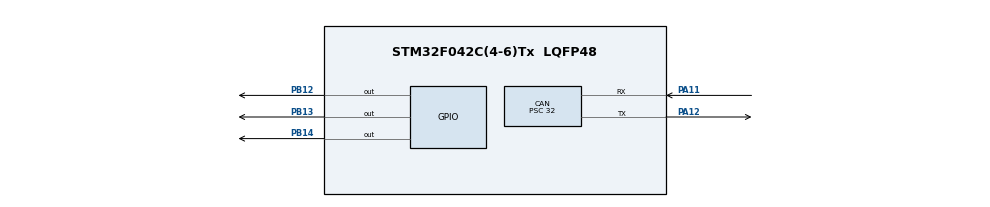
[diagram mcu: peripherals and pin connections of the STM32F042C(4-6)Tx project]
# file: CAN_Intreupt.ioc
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CAN.AWUM=ENABLE
CAN.BS1=CAN_BS1_2TQ
CAN.CalculateTimeQuantum=4000.0
CAN.NART=ENABLE
CAN.Prescaler=32
Mcu.Family=STM32F0
Mcu.Name=STM32F042C(4-6)Tx
Mcu.Package=LQFP48
NVIC.CEC_CAN_IRQn=true\:0\:0\:false\:true\:true\:1\:true\:true
PA11.Mode=Master
PA11.Signal=CAN_RX
PA12.Mode=Master
PA12.Signal=CAN_TX
PB12.Signal=GPIO_Output
PB13.Signal=GPIO_Output
PB14.Signal=GPIO_Output
ProjectManager.HeapSize=0x200
ProjectManager.StackSize=0x400
ProjectManager.TargetToolchain=STM32CubeIDE
board=custom

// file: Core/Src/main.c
/* USER CODE BEGIN Header */
/**
  **************************
  * @file           : main.c
  * @brief          : Main program body
  **************************
  * @attention
  *
  * <h2><center>&copy; Copyright (c) 2021 STMicroelectronics.
  * All rights reserved.</center></h2>
  *
  * This software component is licensed by ST under BSD 3-Clause license,
  * the "License"; You may not use this file except in compliance with the
  * License. You may obtain a copy of the License at:
  *                        opensource.org/licenses/BSD-3-Clause
  *
  **************************
  */
/* USER CODE END Header */
#include "main.h"

/* USER CODE BEGIN Includes */
#include <stdio.h>
/* USER CODE END Includes */

CAN_HandleTypeDef hcan;

/* USER CODE BEGIN PV */
uint8_t DATA[8]={0};
uint32_t id=0;
/* USER CODE END PV */

void SystemClock_Config(void);
static void MX_GPIO_Init(void);
static void MX_CAN_Init(void);
static void MX_NVIC_Init(void);
/* USER CODE BEGIN PFP */
void CANStart();
void CANTransmit(uint32_t,uint32_t,uint32_t,uint32_t,uint8_t*);
void CANReceive(void);
/* USER CODE END PFP */

int main(void)
{

  /* MCU Configuration--------------------------------------------------------*/

  /* Reset of all peripherals, Initializes the Flash interface and the Systick. */
  HAL_Init();

  /* Configure the system clock */
  SystemClock_Config();

  /* Initialize all configured peripherals */
  MX_GPIO_Init();
  MX_CAN_Init();

  /* Initialize interrupts */
  MX_NVIC_Init();
  /* USER CODE BEGIN 2 */
  CANStart();
  /* USER CODE END 2 */

  /* Infinite loop */
  while (1)
  {

    /* USER CODE BEGIN 3 */
	  //uint8_t DATA[] = {5,4,3,2,1};
	  //CANTransmit((uint32_t)0x01, 0, 0, 5, DATA);

	 //CANReceive();
	 //HAL_Delay(100);
	 HAL_GPIO_TogglePin (GPIOB, GPIO_PIN_12);
	//uint8_t DATA1[] = {5,4,3,2,1,12,5,4};
	// CANTransmit((uint32_t)0x02, 0, 0, 8, DATA1);
	 HAL_Delay(500);
  }
  /* USER CODE END 3 */
}

void SystemClock_Config(void)
{
  RCC_OscInitTypeDef RCC_OscInitStruct = {0};
  RCC_ClkInitTypeDef RCC_ClkInitStruct = {0};

  /** Initializes the RCC Oscillators according to the specified parameters
  * in the RCC_OscInitTypeDef structure.
  */
  RCC_OscInitStruct.OscillatorType = RCC_OSCILLATORTYPE_HSI;
  RCC_OscInitStruct.HSIState = RCC_HSI_ON;
  RCC_OscInitStruct.HSICalibrationValue = RCC_HSICALIBRATION_DEFAULT;
  RCC_OscInitStruct.PLL.PLLState = RCC_PLL_NONE;
  if (HAL_RCC_OscConfig(&RCC_OscInitStruct) != HAL_OK)
  {
    Error_Handler();
  }
  /** Initializes the CPU, AHB and APB buses clocks
  */
  RCC_ClkInitStruct.ClockType = RCC_CLOCKTYPE_HCLK|RCC_CLOCKTYPE_SYSCLK
                              |RCC_CLOCKTYPE_PCLK1;
  RCC_ClkInitStruct.SYSCLKSource = RCC_SYSCLKSOURCE_HSI;
  RCC_ClkInitStruct.AHBCLKDivider = RCC_SYSCLK_DIV1;
  RCC_ClkInitStruct.APB1CLKDivider = RCC_HCLK_DIV1;

  if (HAL_RCC_ClockConfig(&RCC_ClkInitStruct, FLASH_LATENCY_0) != HAL_OK)
  {
    Error_Handler();
  }
}

/**
  * @brief NVIC Configuration.
  * @retval None
  */
static void MX_NVIC_Init(void)
{
  /* CEC_CAN_IRQn interrupt configuration */
  HAL_NVIC_SetPriority(CEC_CAN_IRQn, 0, 0);
  HAL_NVIC_EnableIRQ(CEC_CAN_IRQn);
}

static void MX_CAN_Init(void)
{

  hcan.Instance = CAN;
  hcan.Init.Prescaler = 4;
  hcan.Init.Mode = CAN_MODE_NORMAL;
  hcan.Init.SyncJumpWidth = CAN_SJW_1TQ;
  hcan.Init.TimeSeg1 = CAN_BS1_15TQ;
  hcan.Init.TimeSeg2 = CAN_BS2_4TQ;
  hcan.Init.TimeTriggeredMode = DISABLE;
  hcan.Init.AutoBusOff = DISABLE;
  hcan.Init.AutoWakeUp = ENABLE;
  hcan.Init.AutoRetransmission = DISABLE;
  hcan.Init.ReceiveFifoLocked = DISABLE;
  hcan.Init.TransmitFifoPriority = DISABLE;
  if (HAL_CAN_Init(&hcan) != HAL_OK)
  {
    Error_Handler();
  }

}

static void MX_GPIO_Init(void)
{
  GPIO_InitTypeDef GPIO_InitStruct = {0};

  /* GPIO Ports Clock Enable */
  __HAL_RCC_GPIOB_CLK_ENABLE();
  __HAL_RCC_GPIOA_CLK_ENABLE();

  /*Configure GPIO pin Output Level */
  HAL_GPIO_WritePin(GPIOB, GPIO_PIN_12|GPIO_PIN_13|GPIO_PIN_14, GPIO_PIN_RESET);

  /*Configure GPIO pins : PB12 PB13 PB14 */
  GPIO_InitStruct.Pin = GPIO_PIN_12|GPIO_PIN_13|GPIO_PIN_14;
  GPIO_InitStruct.Mode = GPIO_MODE_OUTPUT_PP;
  GPIO_InitStruct.Pull = GPIO_NOPULL;
  GPIO_InitStruct.Speed = GPIO_SPEED_FREQ_LOW;
  HAL_GPIO_Init(GPIOB, &GPIO_InitStruct);

}

/* USER CODE BEGIN 4 */
void CANStart()
{
  CAN_FilterTypeDef filter;
  filter.FilterActivation = ENABLE;
  filter.FilterFIFOAssignment = CAN_FILTER_FIFO0;

  // Allow two IDs per entry
  filter.FilterScale = CAN_FILTERSCALE_16BIT;
  filter.FilterMode = CAN_FILTERMODE_IDMASK;

  filter.FilterMaskIdHigh = 0x0000;
  filter.FilterMaskIdLow  = 0x0000;

  filter.FilterIdLow  = 0x0000;
  filter.FilterIdHigh = 0x0000;

  filter.FilterBank = 0;

  if (HAL_CAN_ConfigFilter(&hcan, &filter) != HAL_OK) {
	  Error_Handler();
  }

 HAL_CAN_ActivateNotification(&hcan, CAN_IT_RX_FIFO0_MSG_PENDING | CAN_IT_RX_FIFO0_FULL | CAN_IT_RX_FIFO0_OVERRUN);

  if (HAL_CAN_Start(&hcan) != HAL_OK) {
	  Error_Handler();
  }
}

void CANTransmit(uint32_t id,uint32_t IDE,uint32_t RTR,uint32_t DLC,uint8_t *data)
{
  uint32_t mailbox= 0x00U;
  CAN_TxHeaderTypeDef Header;
  Header.StdId= id;
  Header.IDE= IDE;
  Header.RTR= RTR;
  Header.DLC= DLC;

  if(HAL_CAN_GetTxMailboxesFreeLevel(&hcan)>0) {
	  if(HAL_CAN_AddTxMessage(&hcan, &Header, data , &mailbox)==HAL_OK){
		  printf("HALOK\n");

		  while(HAL_CAN_IsTxMessagePending(&hcan,mailbox));
		if(hcan.Instance->TSR & CAN_TSR_TXOK0) {
			HAL_GPIO_TogglePin (GPIOB, GPIO_PIN_13);
		}
		  else if(hcan.Instance->TSR & CAN_TSR_ALST0) {
			  HAL_GPIO_TogglePin (GPIOB, GPIO_PIN_14);
		  }

	  }
	  else {
		  printf("HALERROR\n");
	  }
  }
  else
  	  HAL_GPIO_TogglePin (GPIOB, GPIO_PIN_12);
}

void CANReceive()
{
  CAN_RxHeaderTypeDef Header;
  if(HAL_CAN_GetRxFifoFillLevel(&hcan, CAN_RX_FIFO0) > 0){
	  HAL_GPIO_TogglePin (GPIOB, GPIO_PIN_12);
	  if(HAL_CAN_GetRxMessage(&hcan, CAN_RX_FIFO0, &Header, DATA)==HAL_OK) {
	  	  id = Header.StdId;
	    }
  }

  else{
	  HAL_GPIO_TogglePin (GPIOB, GPIO_PIN_13);
   }

}

void HAL_CAN_RxFifo0MsgPendingCallback(CAN_HandleTypeDef *hcan) {
  CAN_RxHeaderTypeDef Header;
  if(HAL_CAN_GetRxMessage(hcan, CAN_RX_FIFO0, &Header, DATA)==HAL_OK) {
	  id = Header.StdId;
	  HAL_GPIO_TogglePin (GPIOB, GPIO_PIN_12);
  }
  else {
	  HAL_GPIO_TogglePin (GPIOB, GPIO_PIN_13);
  }
}

void HAL_CAN_TxMailbox0CompleteCallback(CAN_HandleTypeDef *hcan) {
	if(hcan->Instance->TSR & CAN_TSR_TXOK0) {
		  HAL_GPIO_TogglePin (GPIOB, GPIO_PIN_14);
	  }
	  else if(hcan->Instance->TSR & CAN_TSR_ALST0) {
		  HAL_GPIO_TogglePin (GPIOB, GPIO_PIN_13);
	  }
}

/* USER CODE END 4 */

void Error_Handler(void)
{
}

/************************ (C) COPYRIGHT STMicroelectronics *****END OF FILE****/
